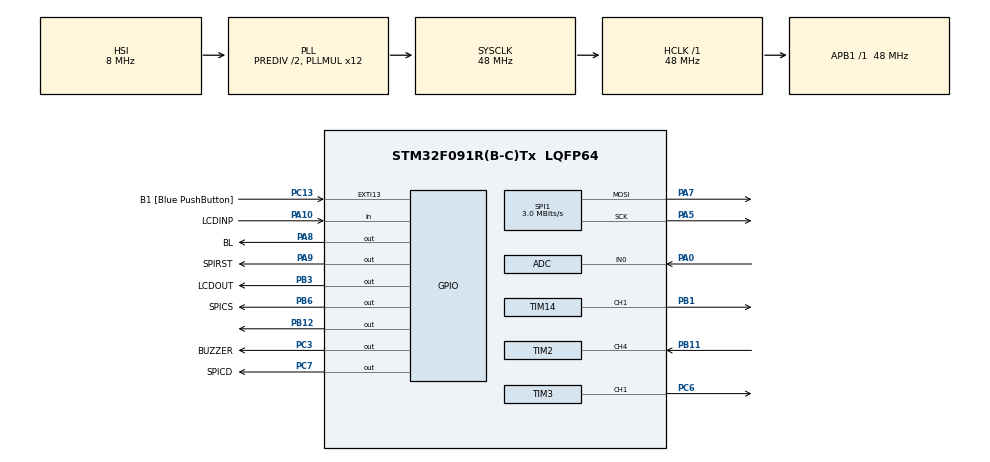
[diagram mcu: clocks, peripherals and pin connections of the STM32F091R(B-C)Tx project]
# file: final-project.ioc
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ADC.Resolution=ADC_RESOLUTION_10B
FREERTOS.Events01=isManualRadarRotation,Dynamic,NULL
FREERTOS.Tasks01=displayUpdate,24,128,displayUpdate_function,Default,NULL,Dynamic,NULL,NULL;readDistance,40,128,readDistance_function,Default,NULL,Dynamic,NULL,NULL;rotateRadarTask,24,128,rotateRadar_function,Default,NULL,Dynamic,NULL,NULL;setRadarPos,24,128,setRadarPosition_function,Default,NULL,Dynamic,NULL,NULL
Mcu.Family=STM32F0
Mcu.Name=STM32F091R(B-C)Tx
Mcu.Package=LQFP64
NVIC.TIM2_IRQn=true\:3\:0\:false\:false\:true\:true\:true\:true\:true
PA0.Mode=IN0
PA0.Signal=ADC_IN0
PA10.GPIO_Label=LCDINP
PA10.Signal=GPIO_Input
PA13.GPIO_Label=TMS
PA13.Mode=Serial_Wire
PA13.Signal=SYS_SWDIO
PA14.GPIO_Label=TCK
PA14.Mode=Serial_Wire
PA14.Signal=SYS_SWCLK
PA2.GPIO_Label=USART_TX
PA2.GPIO_Mode=GPIO_MODE_AF_PP
PA2.GPIO_PuPd=GPIO_NOPULL
PA2.GPIO_Speed=GPIO_SPEED_FREQ_LOW
PA2.Signal=USART2_TX
PA3.GPIO_Label=USART_RX
PA3.GPIO_Mode=GPIO_MODE_AF_PP
PA3.GPIO_PuPd=GPIO_NOPULL
PA3.GPIO_Speed=GPIO_SPEED_FREQ_LOW
PA3.Signal=USART2_RX
PA5.Mode=TX_Only_Simplex_Unidirect_Master
PA5.Signal=SPI1_SCK
PA7.Mode=TX_Only_Simplex_Unidirect_Master
PA7.Signal=SPI1_MOSI
PA8.GPIO_Label=BL
PA8.Signal=GPIO_Output
PA9.GPIO_Label=SPIRST
PA9.Signal=GPIO_Output
PB1.Signal=S_TIM14_CH1
PB11.Signal=S_TIM2_CH4
PB12.Signal=GPIO_Output
PB3.GPIO_Label=LCDOUT
PB3.Signal=GPIO_Output
PB6.GPIO_Label=SPICS
PB6.Signal=GPIO_Output
PC13.GPIO_Label=B1 [Blue PushButton]
PC13.GPIO_ModeDefaultEXTI=GPIO_MODE_IT_FALLING
PC13.Signal=GPXTI13
PC14OSC32_IN.Mode=LSE-External-Oscillator
PC14OSC32_IN.Signal=RCC_OSC32_IN
PC15OSC32_OUT.Mode=LSE-External-Oscillator
PC15OSC32_OUT.Signal=RCC_OSC32_OUT
PC3.GPIO_Label=BUZZER
PC3.GPIO_PuPd=GPIO_PULLDOWN
PC3.Signal=GPIO_Output
PC6.Signal=S_TIM3_CH1
PC7.GPIO_Label=SPICD
PC7.Signal=GPIO_Output
PF0-OSC_IN.Mode=HSE-External-Clock-Source
PF0-OSC_IN.Signal=RCC_OSC_IN
PF1-OSC_OUT.Signal=RCC_OSC_OUT
ProjectManager.HeapSize=0x200
ProjectManager.StackSize=0x400
ProjectManager.TargetToolchain=STM32CubeIDE
RCC.AHBFreq_Value=48000000
RCC.APB1Freq_Value=48000000
RCC.APB1TimFreq_Value=48000000
RCC.FLatency-AdvancedSettings=FLASH_LATENCY_1
RCC.HCLKFreq_Value=48000000
RCC.PLLDivider=RCC_PREDIV_DIV2
RCC.PLLMUL=RCC_PLL_MUL12
RCC.PREFETCH_ENABLE-AdvancedSettings=1
RCC.SYSCLKFreq_VALUE=48000000
RCC.SYSCLKSource=RCC_SYSCLKSOURCE_PLLCLK
SH.S_TIM14_CH1.0=TIM14_CH1,PWM Generation1 CH1
SH.S_TIM2_CH4.0=TIM2_CH4,Input_Capture4_from_TI4
SH.S_TIM3_CH1.0=TIM3_CH1,PWM Generation1 CH1
SPI1.BaudRatePrescaler=SPI_BAUDRATEPRESCALER_16
SPI1.CalculateBaudRate=3.0 MBits/s
SPI1.DataSize=SPI_DATASIZE_8BIT
SPI1.Direction=SPI_DIRECTION_2LINES
SPI1.Mode=SPI_MODE_MASTER
SPI1.VirtualType=VM_MASTER
TIM14.Channel=TIM_CHANNEL_1
TIM14.Period=1000-1
TIM14.Prescaler=24-1
TIM2.Channel-Input_Capture4_from_TI4=TIM_CHANNEL_4
TIM2.Period=0xffff - 1
TIM2.Prescaler=48-1
TIM3.Channel-PWM\ Generation1\ CH1=TIM_CHANNEL_1
TIM3.Period=10000 - 1
TIM3.Prescaler=48-1
VP_FREERTOS_VS_CMSIS_V2.Mode=CMSIS_V2
VP_TIM14_VS_ClockSourceINT.Mode=Enable_Timer
VP_TIM3_VS_ClockSourceINT.Mode=Internal
board=NUCLEO-F091RC

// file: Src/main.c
/* USER CODE BEGIN Header */
/**
 ******************************************************************************
 * @file           : main.c
 * @brief          : Main program body
 ******************************************************************************
 * @attention
 *
 * Copyright (c) 2024 STMicroelectronics.
 * All rights reserved.
 *
 * This software is licensed under terms that can be found in the LICENSE file
 * in the root directory of this software component.
 * If no LICENSE file comes with this software, it is provided AS-IS.
 *
 ******************************************************************************
 */
/* USER CODE END Header */
#include "main.h"
#include <stdio.h>
#include "cmsis_os.h"
#include "font.h"
#include "lcd_st7565.h"
#include "lcd_st7565_pinconf.h"
#include "buzzer.h"

ADC_HandleTypeDef hadc;

SPI_HandleTypeDef hspi1;

TIM_HandleTypeDef htim2;
TIM_HandleTypeDef htim3;
TIM_HandleTypeDef htim14;

/* Definitions for displayUpdate */
osThreadId_t displayUpdateHandle;
const osThreadAttr_t displayUpdate_attributes =
{ .name = "displayUpdate", .stack_size = 128 * 4, .priority =
		(osPriority_t) osPriorityNormal, };
/* Definitions for readDistance */
osThreadId_t readDistanceHandle;
const osThreadAttr_t readDistance_attributes =
{ .name = "readDistance", .stack_size = 128 * 4, .priority =
		(osPriority_t) osPriorityHigh, };
/* Definitions for rotateRadarTask */
osThreadId_t rotateRadarTaskHandle;
const osThreadAttr_t rotateRadarTask_attributes =
{ .name = "rotateRadarTask", .stack_size = 128 * 4, .priority =
		(osPriority_t) osPriorityNormal, };
/* Definitions for setRadarPos */
osThreadId_t setRadarPosHandle;
const osThreadAttr_t setRadarPos_attributes =
{ .name = "setRadarPos", .stack_size = 128 * 4, .priority =
		(osPriority_t) osPriorityNormal, };
/* Definitions for isManualRadarRotation */
osEventFlagsId_t isManualRadarRotationHandle;
const osEventFlagsAttr_t isManualRadarRotation_attributes =
{ .name = "isManualRadarRotation" };

void SystemClock_Config(void);
static void MX_GPIO_Init(void);
static void MX_TIM2_Init(void);
static void MX_SPI1_Init(void);
static void MX_TIM14_Init(void);
static void MX_TIM3_Init(void);
static void MX_ADC_Init(void);
void displayUpdate_function(void *argument);
void readDistance_function(void *argument);
void rotateRadar_function(void *argument);
void setRadarPosition_function(void *argument);

/* USER CODE BEGIN 0 */
static int adc_local = 0;

void delay(uint16_t time)
{
	__HAL_TIM_SET_COUNTER(&htim2, 0);
	while (__HAL_TIM_GET_COUNTER(&htim2) < time)
		;
}

static uint32_t IC_Val1 = 0;
static uint32_t IC_Val2 = 0;
static uint32_t Difference = 0;
static uint8_t Is_First_Captured = 0;
static uint8_t Distance = 0;

void HAL_TIM_IC_CaptureCallback(TIM_HandleTypeDef *htim)
{
	if (htim->Channel == HAL_TIM_ACTIVE_CHANNEL_4)
	{ // if the first value is not captured
		if (Is_First_Captured == 0)
		{
			IC_Val1 = HAL_TIM_ReadCapturedValue(htim, TIM_CHANNEL_4); // read the first value
			Is_First_Captured = 1; // set the first captured as true
			// Now change the polarity to falling edge
			__HAL_TIM_SET_CAPTUREPOLARITY(htim, TIM_CHANNEL_4,
					TIM_INPUTCHANNELPOLARITY_FALLING);
		}
		else if (Is_First_Captured == 1) // if the first is already captured
		{
			IC_Val2 = HAL_TIM_ReadCapturedValue(htim, TIM_CHANNEL_4); // read second value
			__HAL_TIM_SET_COUNTER(htim, 0); // reset the counter

			if (IC_Val2 > IC_Val1)
			{
				Difference = IC_Val2 - IC_Val1;
			}

			else if (IC_Val1 > IC_Val2)
			{
				Difference = (0xffff - IC_Val1) + IC_Val2;
			}

			Distance = Difference * .034 / 2;
			Is_First_Captured = 0; // set it back to false

			// set the polarity to rising edge
			__HAL_TIM_SET_CAPTUREPOLARITY(htim, TIM_CHANNEL_4,
					TIM_INPUTCHANNELPOLARITY_RISING);
			__HAL_TIM_DISABLE_IT(&htim2, TIM_IT_CC4);
		}
	}
}

void HCSR04_Read(void)
{
	HAL_GPIO_WritePin(GPIOB, GPIO_PIN_12, GPIO_PIN_SET);
	delay(10); // wait for 10us
	HAL_GPIO_WritePin(GPIOB, GPIO_PIN_12, GPIO_PIN_RESET);

	__HAL_TIM_ENABLE_IT(&htim2, TIM_IT_CC4);
}

#define PI 3.14159265358979323846

// Zone 1 is between 0 - 60 degrees
static uint8_t isZone1 = 0;
// Zone 2 is between 60 - 120 degrees
static uint8_t isZone2 = 0;
// Zone 3 is between 120 - 180 degrees
static uint8_t isZone3 = 0;

void drawRadar()
{
	// Draw the linear line at the bottom
	st7565_drawline(buffer, 0, 50, 128, 50, 1);

	uint8_t radarDegrees = isZone1 ? 60 : isZone2 ? 120 : 180;
	uint8_t radarStartingDegrees = isZone1 ? 0 : isZone2 ? 60 :
									isZone3 ? 120 : 0;

	// Draw the radar arc lines for distances in cm
	float distances[] =
	{ 15, 30, 45 }; // Distances for the arcs (in cm)
	for (int d = 0; d < sizeof(distances) / sizeof(distances[0]); d++)
	{
		float radius = distances[d]; // Get radius for current distance
		for (int i = 0; i < 180; i++)
		{
			// Calculate the x and y coordinates with the specified radius
			float x = 64 - (radius * cos(i * PI / 180));
			float y = 50 - (radius * sin(i * PI / 180));

			// Draw the points for the arc only for the degrees between radarStartingDegrees and radarDegrees, both included.
			if (i >= radarStartingDegrees && i <= radarDegrees)
			{
				st7565_setpixel(buffer, (uint8_t) x, (uint8_t) y, 1);
			}
			else
			{
				st7565_setpixel(buffer, (uint8_t) x, (uint8_t) y, 0);
			}
		}
	}

	// Draw the radar degrees lines.
	for (int i = 30; i <= 150; i += 30)
	{
		// Calculate the x and y coordinates with a larger radius
		float radius = 55;
		float x = 64 - (radius * cos(i * PI / 180));
		float y = 60 - (radius * sin(i * PI / 180));

		// Draw the line for the degrees between radarStartingDegrees and radarDegrees, both included.
		if (i <= radarDegrees && i >= radarStartingDegrees)
		{
			st7565_drawline(buffer, 64, 50, (uint8_t) x, (uint8_t) y, 1);
		}
		else
		{
			st7565_drawline(buffer, 64, 50, (uint8_t) x, (uint8_t) y, 0);
		}
	}

	// TODO Extract the below code into a separate method, something like drawArcDistancesAndLineDegrees()
	// Draw distances in cm for each arc line.
	st7565_drawstring(buffer, 70, 7, "10");
	st7565_drawstring(buffer, 90, 7, "20");
	st7565_drawstring(buffer, 105, 7, "30");

	// Draw angles for each line based on the selected zone.
	if (isZone1)
	{
		st7565_drawstring(buffer, 6, 4, "30");
		st7565_drawstring(buffer, 20, 1, "60");
	}
	else if (isZone2)
	{
		st7565_drawstring(buffer, 20, 1, "60");
		st7565_drawstring(buffer, 58, 0, "90");
		st7565_drawstring(buffer, 95, 1, "120");
	}
	else if (isZone3)
	{
		st7565_drawstring(buffer, 95, 1, "120");
		st7565_drawstring(buffer, 107, 4, "150");
	}
	// All zones
	else
	{
		st7565_drawstring(buffer, 6, 4, "30");
		st7565_drawstring(buffer, 20, 1, "60");
		st7565_drawstring(buffer, 58, 0, "90");
		st7565_drawstring(buffer, 95, 1, "120");
		st7565_drawstring(buffer, 107, 4, "150");
	}

	// Write buffer to display
	st7565_write_buffer(buffer);
}

// Function to draw just the radar line with proper clearing of the previous line
// This function clears the previous radar line before drawing the new line to avoid
// leaving artifacts on the display. It addresses a bug where the radar line wasn't
// properly cleared before redrawing, causing remnants of the previous line to remain
// visible on the display and potentially causing the display to go blank after a few
// seconds due to accumulation of artifacts.
void drawRadarLine(uint8_t *buff, uint8_t x0, uint8_t y0, uint8_t x1,
		uint8_t y1, uint8_t color)
{
	// Clear the previous radar line
	st7565_drawline(buff, x0, y0, x1, y1, 0);

	// Draw the new radar line
	st7565_drawline(buff, x0, y0, x1, y1, color);
}

// TODO Review implementation, is working very slow right now and the point is not properly placed.
void drawDetectionPoint(uint16_t servoAngle, uint8_t distance)
{
	// Check if the detected distance is below 30 cm
	if (distance < 30)
	{
		// Calculate the position of the detection point on the radar
		// Adjust the calculation based on the changes made to the radar drawing logic
		float radius = 50; // Assuming radius of 50 pixels
		float radarX = 64 - (radius * cos(servoAngle * PI / 180));
		float radarY = 64 - (radius * sin(servoAngle * PI / 180)) - distance; // Adjust for distance from radar line

		// Draw the detection point on the radar
		st7565_setpixel(buffer, (uint8_t) radarX, (uint8_t) radarY, 1);
	}
}

void updateRadarDisplay(uint16_t servoAngle)
{
	// Static variables to store previous radar line position
	static uint8_t previousRadarX = 0;
	static uint8_t previousRadarY = 0;

	// Calculate radar line position based on servo angle
	// You need to adjust these calculations based on your radar display setup
	float radarX = 64 - (50 * cos(servoAngle * PI / 180));
	float radarY = 60 - (50 * sin(servoAngle * PI / 180));

	// Clear the old radar line and draw the new one
	drawRadarLine(buffer, 64, 50, previousRadarX, previousRadarY, 0);
	drawRadarLine(buffer, 64, 50, radarX, radarY, 1);

	// Store current radar line position for clearing in the next iteration
	previousRadarX = (uint8_t) radarX;
	previousRadarY = (uint8_t) radarY;

	// Draw detection point if distance is below 30 cm
//	drawDetectionPoint(servoAngle, Distance);
}

// Distance is represented in cm. If there is no object detected, distance is going to be 0.
void drawDistance()
{
	char distanceStr[20]; // Assuming a maximum length of 20 characters for the string

	// Convert Distance to a string
	sprintf(distanceStr, "Dist:%dcm", Distance);

	// Draw the distance on the screen
	st7565_drawstring(buffer, 1, 7, (uint8_t*) distanceStr);

	// Update the LCD display
	st7565_write_buffer(buffer);
}

// Calculate the angle from servo position in order to set the radar line position properly.
uint16_t calculateAngle(uint16_t servoPosition, uint16_t minPWM,
		uint16_t maxPWM)
{
	// Map the servo position to the corresponding angle using linear interpolation
	uint16_t angle = (servoPosition - minPWM) * 180 / (maxPWM - minPWM);

	return angle;
}

// When the radar is stationary in one position, we must alert using the buzzer is there are any objects detected under 30 cm.
void distanceBuzzAlert()
{
	// Stop any previous buzzer sound
	BUZZER_Off();

	// Start again the buzzer
	BUZZER_Init();

	// Control the buzzer based on distance
	if (Distance < 10)
	{
		// Close distance, long beeps
		BUZZER_Go(TBUZ_200, TICK_8);
	}
	else if (Distance < 20)
	{
		// Medium distance, short beeps
		BUZZER_Go(TBUZ_50, TICK_2);
		osDelay(500); // Delay between beeps
		BUZZER_Go(TBUZ_50, TICK_2);
	}
	else if (Distance < 30)
	{
		// Far distance, short beeps
		BUZZER_Go(TBUZ_50, TICK_2);
		osDelay(1000); // Delay between beeps
		BUZZER_Go(TBUZ_50, TICK_2);
	}
}

/* USER CODE END 0 */

int main(void)
{

	/* MCU Configuration--------------------------------------------------------*/

	/* Reset of all peripherals, Initializes the Flash interface and the Systick. */
	HAL_Init();

	/* Configure the system clock */
	SystemClock_Config();

	/* Initialize all configured peripherals */
	MX_GPIO_Init();
	MX_TIM2_Init();
	MX_SPI1_Init();
	MX_TIM14_Init();
	MX_TIM3_Init();
	MX_ADC_Init();
	st7565_init();
	st7565_backlight_enable();
	/* USER CODE BEGIN 2 */

	// == ULTRASONIC ===
	HAL_TIM_IC_Start_IT(&htim2, TIM_CHANNEL_4);

	drawRadar();

	// LCD Shield have digital pins that are connected to the board pins, I added a wire between those 2 pins on the shield, that represents PB3 and PA10 on the board.
	// We set one pin high and because the wire connects them, the other is set to high, so we can check if it was set to high. If it doesn't, then it means that either the wire is not
	// connected or the LCD Shield is not connected to the board.
	HAL_GPIO_WritePin(GPIOB, GPIO_PIN_3, GPIO_PIN_SET);
	uint8_t isLCDConnected = HAL_GPIO_ReadPin(GPIOA, GPIO_PIN_10);

	if (isLCDConnected)
	{
		BUZZER_Init();
		BUZZER_Go(TBUZ_100, TICK_4);
	}

	/* USER CODE END 2 */

	/* Init scheduler */
	osKernelInitialize();

	/* Create the thread(s) */
	/* creation of displayUpdate */
	displayUpdateHandle = osThreadNew(displayUpdate_function, NULL,
			&displayUpdate_attributes);

	/* creation of readDistance */
	readDistanceHandle = osThreadNew(readDistance_function, NULL,
			&readDistance_attributes);

	/* creation of rotateRadarTask */
	rotateRadarTaskHandle = osThreadNew(rotateRadar_function, NULL,
			&rotateRadarTask_attributes);

	/* creation of setRadarPos */
	setRadarPosHandle = osThreadNew(setRadarPosition_function, NULL,
			&setRadarPos_attributes);

	/* Create the event(s) */
	/* creation of isManualRadarRotation */
	isManualRadarRotationHandle = osEventFlagsNew(
			&isManualRadarRotation_attributes);

	/* Start scheduler */
	osKernelStart();

	/* We should never get here as control is now taken by the scheduler */
	/* Infinite loop */
	while (1)
	{

	}
}

void SystemClock_Config(void)
{
	RCC_OscInitTypeDef RCC_OscInitStruct =
	{ 0 };
	RCC_ClkInitTypeDef RCC_ClkInitStruct =
	{ 0 };

	/** Initializes the RCC Oscillators according to the specified parameters
	 * in the RCC_OscInitTypeDef structure.
	 */
	RCC_OscInitStruct.OscillatorType = RCC_OSCILLATORTYPE_HSI
			| RCC_OSCILLATORTYPE_HSI14;
	RCC_OscInitStruct.HSIState = RCC_HSI_ON;
	RCC_OscInitStruct.HSI14State = RCC_HSI14_ON;
	RCC_OscInitStruct.HSICalibrationValue = RCC_HSICALIBRATION_DEFAULT;
	RCC_OscInitStruct.HSI14CalibrationValue = 16;
	RCC_OscInitStruct.PLL.PLLState = RCC_PLL_ON;
	RCC_OscInitStruct.PLL.PLLSource = RCC_PLLSOURCE_HSI;
	RCC_OscInitStruct.PLL.PLLMUL = RCC_PLL_MUL12;
	RCC_OscInitStruct.PLL.PREDIV = RCC_PREDIV_DIV2;
	if (HAL_RCC_OscConfig(&RCC_OscInitStruct) != HAL_OK)
	{
		Error_Handler();
	}

	/** Initializes the CPU, AHB and APB buses clocks
	 */
	RCC_ClkInitStruct.ClockType = RCC_CLOCKTYPE_HCLK | RCC_CLOCKTYPE_SYSCLK
			| RCC_CLOCKTYPE_PCLK1;
	RCC_ClkInitStruct.SYSCLKSource = RCC_SYSCLKSOURCE_PLLCLK;
	RCC_ClkInitStruct.AHBCLKDivider = RCC_SYSCLK_DIV1;
	RCC_ClkInitStruct.APB1CLKDivider = RCC_HCLK_DIV1;

	if (HAL_RCC_ClockConfig(&RCC_ClkInitStruct, FLASH_LATENCY_1) != HAL_OK)
	{
		Error_Handler();
	}
}

static void MX_ADC_Init(void)
{

	ADC_ChannelConfTypeDef sConfig =
	{ 0 };

	/** Configure the global features of the ADC (Clock, Resolution, Data Alignment and number of conversion)
	 */
	hadc.Instance = ADC1;
	hadc.Init.ClockPrescaler = ADC_CLOCK_ASYNC_DIV1;
	hadc.Init.Resolution = ADC_RESOLUTION_10B;
	hadc.Init.DataAlign = ADC_DATAALIGN_RIGHT;
	hadc.Init.ScanConvMode = ADC_SCAN_DIRECTION_FORWARD;
	hadc.Init.EOCSelection = ADC_EOC_SINGLE_CONV;
	hadc.Init.LowPowerAutoWait = DISABLE;
	hadc.Init.LowPowerAutoPowerOff = DISABLE;
	hadc.Init.ContinuousConvMode = DISABLE;
	hadc.Init.DiscontinuousConvMode = DISABLE;
	hadc.Init.ExternalTrigConv = ADC_SOFTWARE_START;
	hadc.Init.ExternalTrigConvEdge = ADC_EXTERNALTRIGCONVEDGE_NONE;
	hadc.Init.DMAContinuousRequests = DISABLE;
	hadc.Init.Overrun = ADC_OVR_DATA_PRESERVED;
	if (HAL_ADC_Init(&hadc) != HAL_OK)
	{
		Error_Handler();
	}

	/** Configure for the selected ADC regular channel to be converted.
	 */
	sConfig.Channel = ADC_CHANNEL_0;
	sConfig.Rank = ADC_RANK_CHANNEL_NUMBER;
	sConfig.SamplingTime = ADC_SAMPLETIME_1CYCLE_5;
	if (HAL_ADC_ConfigChannel(&hadc, &sConfig) != HAL_OK)
	{
		Error_Handler();
	}

}

static void MX_SPI1_Init(void)
{

	/* SPI1 parameter configuration*/
	hspi1.Instance = SPI1;
	hspi1.Init.Mode = SPI_MODE_MASTER;
	hspi1.Init.Direction = SPI_DIRECTION_2LINES;
	hspi1.Init.DataSize = SPI_DATASIZE_8BIT;
	hspi1.Init.CLKPolarity = SPI_POLARITY_LOW;
	hspi1.Init.CLKPhase = SPI_PHASE_1EDGE;
	hspi1.Init.NSS = SPI_NSS_SOFT;
	hspi1.Init.BaudRatePrescaler = SPI_BAUDRATEPRESCALER_16;
	hspi1.Init.FirstBit = SPI_FIRSTBIT_MSB;
	hspi1.Init.TIMode = SPI_TIMODE_DISABLE;
	hspi1.Init.CRCCalculation = SPI_CRCCALCULATION_DISABLE;
	hspi1.Init.CRCPolynomial = 7;
	hspi1.Init.CRCLength = SPI_CRC_LENGTH_DATASIZE;
	hspi1.Init.NSSPMode = SPI_NSS_PULSE_ENABLE;
	if (HAL_SPI_Init(&hspi1) != HAL_OK)
	{
		Error_Handler();
	}

}

static void MX_TIM2_Init(void)
{

	TIM_MasterConfigTypeDef sMasterConfig =
	{ 0 };
	TIM_IC_InitTypeDef sConfigIC =
	{ 0 };

	htim2.Instance = TIM2;
	htim2.Init.Prescaler = 48 - 1;
	htim2.Init.CounterMode = TIM_COUNTERMODE_UP;
	htim2.Init.Period = 0xffff - 1;
	htim2.Init.ClockDivision = TIM_CLOCKDIVISION_DIV1;
	htim2.Init.AutoReloadPreload = TIM_AUTORELOAD_PRELOAD_DISABLE;
	if (HAL_TIM_IC_Init(&htim2) != HAL_OK)
	{
		Error_Handler();
	}
	sMasterConfig.MasterOutputTrigger = TIM_TRGO_RESET;
	sMasterConfig.MasterSlaveMode = TIM_MASTERSLAVEMODE_DISABLE;
	if (HAL_TIMEx_MasterConfigSynchronization(&htim2, &sMasterConfig) != HAL_OK)
	{
		Error_Handler();
	}
	sConfigIC.ICPolarity = TIM_INPUTCHANNELPOLARITY_RISING;
	sConfigIC.ICSelection = TIM_ICSELECTION_DIRECTTI;
	sConfigIC.ICPrescaler = TIM_ICPSC_DIV1;
	sConfigIC.ICFilter = 0;
	if (HAL_TIM_IC_ConfigChannel(&htim2, &sConfigIC, TIM_CHANNEL_4) != HAL_OK)
	{
		Error_Handler();
	}

}

static void MX_TIM3_Init(void)
{

	TIM_ClockConfigTypeDef sClockSourceConfig =
	{ 0 };
	TIM_MasterConfigTypeDef sMasterConfig =
	{ 0 };
	TIM_OC_InitTypeDef sConfigOC =
	{ 0 };

	htim3.Instance = TIM3;
	htim3.Init.Prescaler = 48 - 1;
	htim3.Init.CounterMode = TIM_COUNTERMODE_UP;
	htim3.Init.Period = 10000 - 1;
	htim3.Init.ClockDivision = TIM_CLOCKDIVISION_DIV1;
	htim3.Init.AutoReloadPreload = TIM_AUTORELOAD_PRELOAD_DISABLE;
	if (HAL_TIM_Base_Init(&htim3) != HAL_OK)
	{
		Error_Handler();
	}
	sClockSourceConfig.ClockSource = TIM_CLOCKSOURCE_INTERNAL;
	if (HAL_TIM_ConfigClockSource(&htim3, &sClockSourceConfig) != HAL_OK)
	{
		Error_Handler();
	}
	if (HAL_TIM_PWM_Init(&htim3) != HAL_OK)
	{
		Error_Handler();
	}
	sMasterConfig.MasterOutputTrigger = TIM_TRGO_RESET;
	sMasterConfig.MasterSlaveMode = TIM_MASTERSLAVEMODE_DISABLE;
	if (HAL_TIMEx_MasterConfigSynchronization(&htim3, &sMasterConfig) != HAL_OK)
	{
		Error_Handler();
	}
	sConfigOC.OCMode = TIM_OCMODE_PWM1;
	sConfigOC.Pulse = 0;
	sConfigOC.OCPolarity = TIM_OCPOLARITY_HIGH;
	sConfigOC.OCFastMode = TIM_OCFAST_DISABLE;
	if (HAL_TIM_PWM_ConfigChannel(&htim3, &sConfigOC, TIM_CHANNEL_1) != HAL_OK)
	{
		Error_Handler();
	}
	HAL_TIM_MspPostInit(&htim3);

}

static void MX_TIM14_Init(void)
{

	TIM_OC_InitTypeDef sConfigOC =
	{ 0 };

	htim14.Instance = TIM14;
	htim14.Init.Prescaler = 24 - 1;
	htim14.Init.CounterMode = TIM_COUNTERMODE_UP;
	htim14.Init.Period = 1000 - 1;
	htim14.Init.ClockDivision = TIM_CLOCKDIVISION_DIV1;
	htim14.Init.AutoReloadPreload = TIM_AUTORELOAD_PRELOAD_DISABLE;
	if (HAL_TIM_Base_Init(&htim14) != HAL_OK)
	{
		Error_Handler();
	}
	if (HAL_TIM_PWM_Init(&htim14) != HAL_OK)
	{
		Error_Handler();
	}
	sConfigOC.OCMode = TIM_OCMODE_PWM1;
	sConfigOC.Pulse = 0;
	sConfigOC.OCPolarity = TIM_OCPOLARITY_HIGH;
	sConfigOC.OCFastMode = TIM_OCFAST_DISABLE;
	if (HAL_TIM_PWM_ConfigChannel(&htim14, &sConfigOC, TIM_CHANNEL_1) != HAL_OK)
	{
		Error_Handler();
	}
	HAL_TIM_MspPostInit(&htim14);

}

static void MX_GPIO_Init(void)
{
	GPIO_InitTypeDef GPIO_InitStruct =
	{ 0 };

	/* GPIO Ports Clock Enable */
	__HAL_RCC_GPIOC_CLK_ENABLE();
	__HAL_RCC_GPIOF_CLK_ENABLE();
	__HAL_RCC_GPIOA_CLK_ENABLE();
	__HAL_RCC_GPIOB_CLK_ENABLE();

	/*Configure GPIO pin Output Level */
	HAL_GPIO_WritePin(GPIOC, BUZZER_Pin | SPICD_Pin, GPIO_PIN_RESET);

	/*Configure GPIO pin Output Level */
	HAL_GPIO_WritePin(GPIOB, GPIO_PIN_12 | LCDOUT_Pin | SPICS_Pin,
			GPIO_PIN_RESET);

	/*Configure GPIO pin Output Level */
	HAL_GPIO_WritePin(GPIOA, BL_Pin | SPIRST_Pin, GPIO_PIN_RESET);

	/*Configure GPIO pin : B1_Pin */
	GPIO_InitStruct.Pin = B1_Pin;
	GPIO_InitStruct.Mode = GPIO_MODE_IT_FALLING;
	GPIO_InitStruct.Pull = GPIO_NOPULL;
	HAL_GPIO_Init(B1_GPIO_Port, &GPIO_InitStruct);

	/*Configure GPIO pin : BUZZER_Pin */
	GPIO_InitStruct.Pin = BUZZER_Pin;
	GPIO_InitStruct.Mode = GPIO_MODE_OUTPUT_PP;
	GPIO_InitStruct.Pull = GPIO_PULLDOWN;
	GPIO_InitStruct.Speed = GPIO_SPEED_FREQ_LOW;
	HAL_GPIO_Init(BUZZER_GPIO_Port, &GPIO_InitStruct);

	/*Configure GPIO pins : USART_TX_Pin USART_RX_Pin */
	GPIO_InitStruct.Pin = USART_TX_Pin | USART_RX_Pin;
	GPIO_InitStruct.Mode = GPIO_MODE_AF_PP;
	GPIO_InitStruct.Pull = GPIO_NOPULL;
	GPIO_InitStruct.Speed = GPIO_SPEED_FREQ_LOW;
	GPIO_InitStruct.Alternate = GPIO_AF1_USART2;
	HAL_GPIO_Init(GPIOA, &GPIO_InitStruct);

	/*Configure GPIO pins : PB12 LCDOUT_Pin SPICS_Pin */
	GPIO_InitStruct.Pin = GPIO_PIN_12 | LCDOUT_Pin | SPICS_Pin;
	GPIO_InitStruct.Mode = GPIO_MODE_OUTPUT_PP;
	GPIO_InitStruct.Pull = GPIO_NOPULL;
	GPIO_InitStruct.Speed = GPIO_SPEED_FREQ_LOW;
	HAL_GPIO_Init(GPIOB, &GPIO_InitStruct);

	/*Configure GPIO pin : SPICD_Pin */
	GPIO_InitStruct.Pin = SPICD_Pin;
	GPIO_InitStruct.Mode = GPIO_MODE_OUTPUT_PP;
	GPIO_InitStruct.Pull = GPIO_NOPULL;
	GPIO_InitStruct.Speed = GPIO_SPEED_FREQ_LOW;
	HAL_GPIO_Init(SPICD_GPIO_Port, &GPIO_InitStruct);

	/*Configure GPIO pins : BL_Pin SPIRST_Pin */
	GPIO_InitStruct.Pin = BL_Pin | SPIRST_Pin;
	GPIO_InitStruct.Mode = GPIO_MODE_OUTPUT_PP;
	GPIO_InitStruct.Pull = GPIO_NOPULL;
	GPIO_InitStruct.Speed = GPIO_SPEED_FREQ_LOW;
	HAL_GPIO_Init(GPIOA, &GPIO_InitStruct);

	/*Configure GPIO pin : LCDINP_Pin */
	GPIO_InitStruct.Pin = LCDINP_Pin;
	GPIO_InitStruct.Mode = GPIO_MODE_INPUT;
	GPIO_InitStruct.Pull = GPIO_NOPULL;
	HAL_GPIO_Init(LCDINP_GPIO_Port, &GPIO_InitStruct);

}

/* USER CODE BEGIN 4 */

/*** SYSTICK (T = 1ms) ***/
/**
 * @brief  SYSTICK callback.
 * @retval None
 */
void HAL_SYSTICK_Callback(void)
{
	BUZZER_Handler();
}

/* USER CODE END 4 */

void displayUpdate_function(void *argument)
{
	/* USER CODE BEGIN 5 */
	/* Infinite loop */
	for (;;)
	{
		// === LCD SCREEN ===

		drawDistance();

		// TODO This should be removed from here, it afects the performance of the servomotor (it moves more slowly because of this) and also it's not needed, because we need to draw the radar only once on the screen.
		// It's keept here for the moment because the draw radar line is removing the radar arcs needed for splitting the radar into the 6 zones.
		// An implementation must be done where we check if draw line overlaps with a radar arc and we will not draw that line at that point.
		// Or maybe there are better solutions. This is what came in my mind without thinking too much at the problem at this moment of writting this. Further research is required.
		drawRadar();

		osDelay(250);
	}
	/* USER CODE END 5 */
}

void readDistance_function(void *argument)
{
	/* USER CODE BEGIN readDistance_function */
	/* Infinite loop */
	for (;;)
	{
		// === HCSR04 SENSOR ===
		HCSR04_Read();

		osDelay(20);
	}
	/* USER CODE END readDistance_function */
}

void rotateRadar_function(void *argument)
{
	/* USER CODE BEGIN rotateRadar_function */
	/* Infinite loop */
	for (;;)
	{
		// Rotate radar auto only if the user haven't toggled the manual rotation by using the joystick
		if (osEventFlagsGet(isManualRadarRotationHandle) == 1)
		{
		}
		else
		{
			// === SERVOMOTOR ===

			HAL_TIM_PWM_Start(&htim3, TIM_CHANNEL_1);

			// Set the target position (180 degrees)
			uint16_t targetPosition = 2500;

			// Set the initial position (0 degrees)
			uint16_t initialPosition = 625;

			// Define the number of steps for the transition
			uint16_t steps = 200;		// Increase the number of steps further

			// Calculate the step size
			uint16_t stepSize = (targetPosition - initialPosition) / steps;

			// Gradually change the PWM signal to move the servo
			for (int i = 0;
					i < steps
							&& osEventFlagsGet(isManualRadarRotationHandle) != 1;
					i++)
			{
				// Incrementally increase the PWM signal
				uint16_t newPosition = initialPosition + i * stepSize;
				__HAL_TIM_SET_COMPARE(&htim3, TIM_CHANNEL_1, newPosition);
				osDelay(100);// Adjust the delay time between steps as necessary

				// Calculate the angle from the servo position
				uint16_t servoAngle = calculateAngle(newPosition,
						initialPosition, targetPosition);

				// Update radar display based on servo angle
				updateRadarDisplay(servoAngle);
			}

			// Wait for the servo to reach the target position
			osDelay(2000);		// Increased wait time for slower movement

			// Define the number of steps for the backward transition
			uint16_t steps_back = 200;// Increase the number of steps for backward transition

			// Calculate the step size for the backward transition
			uint16_t stepSize_back = (initialPosition - targetPosition)
					/ steps_back;

			// Gradually change the PWM signal to move the servo back to the initial position
			for (int i = 0;
					i < steps_back
							&& osEventFlagsGet(isManualRadarRotationHandle) != 1;
					i++)
			{
				// Decrementally decrease the PWM signal
				uint16_t newPosition_back = targetPosition + i * stepSize_back;
				__HAL_TIM_SET_COMPARE(&htim3, TIM_CHANNEL_1, newPosition_back);
				osDelay(100);// Adjust the delay time between steps as necessary

				// Calculate the angle from the servo position
				uint16_t servoAngle = calculateAngle(newPosition_back,
						initialPosition, targetPosition);

				// Update radar display based on servo angle
				updateRadarDisplay(servoAngle);
			}

			// Wait for the servo to reach the initial position
			osDelay(2000);		// Increased wait time for slower movement
		}

	}
	/* USER CODE END rotateRadar_function */
}

void setRadarPosition_function(void *argument)
{
	/* USER CODE BEGIN setRadarPosition_function */
	/* Infinite loop */
	for (;;)
	{

		HAL_ADC_Start(&hadc);
		HAL_ADC_PollForConversion(&hadc, 100);
		if (osEventFlagsGet(isManualRadarRotationHandle) == 1)
		{
			distanceBuzzAlert();

			adc_local = HAL_ADC_GetValue(&hadc);

			if (adc_local < 500 && adc_local > 200)
			{
				osEventFlagsClear(isManualRadarRotationHandle, 1);

				// Reset zones
				isZone1 = 0;
				isZone2 = 0;
				isZone3 = 0;
			}
		}
		// TODO Add some proper values based on the right angles to place the position (radar line) in all 3 possible zones.
		// There are 3 possible joystick combination that's why, so each manual area must cover 2 radar zones (there are 6 in total)
		else
		{
			HAL_ADC_Start(&hadc);
			HAL_ADC_PollForConversion(&hadc, 100);
			adc_local = HAL_ADC_GetValue(&hadc);

			HAL_TIM_PWM_Start(&htim3, TIM_CHANNEL_1);

			// JOYSTICK UP - This doesn't work because it have the same adc_valuevalue as not pressing any button.
			if (adc_local > 1000 && adc_local < 1200)
			{

			}
			// JOYSTICK RIGHT
			else if (adc_local > 900 && adc_local < 999)
			{
				osEventFlagsSet(isManualRadarRotationHandle, 1);
				__HAL_TIM_SET_COMPARE(&htim3, TIM_CHANNEL_1, 650);
				isZone3 = 1;
			}
			// JOYSTICK BOTTOM
			else if (adc_local > 550 && adc_local < 700)
			{
				osEventFlagsSet(isManualRadarRotationHandle, 1);
				__HAL_TIM_SET_COMPARE(&htim3, TIM_CHANNEL_1, 1250);
				isZone2 = 1;
			}
			// JOYSTICK PRESSED -> Used for toggling the auto mode
			else if (adc_local < 500 && adc_local > 200)
			{
			}
			// JOYSTICK LEFT
			else if (adc_local < 200)
			{
				osEventFlagsSet(isManualRadarRotationHandle, 1);
				__HAL_TIM_SET_COMPARE(&htim3, TIM_CHANNEL_1, 1850);
				isZone1 = 1;
			}
			else
			{

			}
		}
		osDelay(1);
	}
	/* USER CODE END setRadarPosition_function */
}

void Error_Handler(void)
{
	__disable_irq();
	while (1)
	{
	}
}
